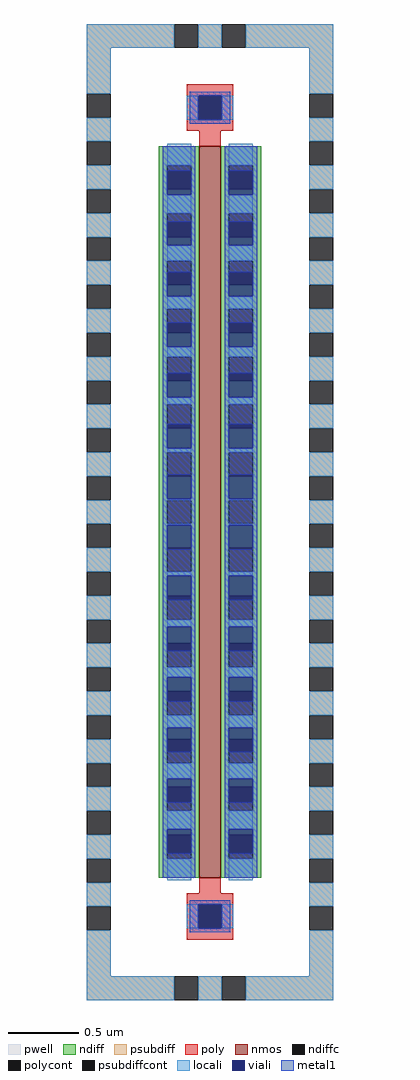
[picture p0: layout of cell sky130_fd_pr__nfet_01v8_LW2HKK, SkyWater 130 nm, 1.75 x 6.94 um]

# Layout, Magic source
magic
tech sky130A
magscale 1 2
<< pwell >>
rect -175 660 175 694
rect -175 -660 -141 660
rect 141 -660 175 660
rect -175 -694 175 -660
<< nmos >>
rect -15 -520 15 520
<< ndiff >>
rect -73 493 -15 520
rect -73 459 -61 493
rect -27 459 -15 493
rect -73 425 -15 459
rect -73 391 -61 425
rect -27 391 -15 425
rect -73 357 -15 391
rect -73 323 -61 357
rect -27 323 -15 357
rect -73 289 -15 323
rect -73 255 -61 289
rect -27 255 -15 289
rect -73 221 -15 255
rect -73 187 -61 221
rect -27 187 -15 221
rect -73 153 -15 187
rect -73 119 -61 153
rect -27 119 -15 153
rect -73 85 -15 119
rect -73 51 -61 85
rect -27 51 -15 85
rect -73 17 -15 51
rect -73 -17 -61 17
rect -27 -17 -15 17
rect -73 -51 -15 -17
rect -73 -85 -61 -51
rect -27 -85 -15 -51
rect -73 -119 -15 -85
rect -73 -153 -61 -119
rect -27 -153 -15 -119
rect -73 -187 -15 -153
rect -73 -221 -61 -187
rect -27 -221 -15 -187
rect -73 -255 -15 -221
rect -73 -289 -61 -255
rect -27 -289 -15 -255
rect -73 -323 -15 -289
rect -73 -357 -61 -323
rect -27 -357 -15 -323
rect -73 -391 -15 -357
rect -73 -425 -61 -391
rect -27 -425 -15 -391
rect -73 -459 -15 -425
rect -73 -493 -61 -459
rect -27 -493 -15 -459
rect -73 -520 -15 -493
rect 15 493 73 520
rect 15 459 27 493
rect 61 459 73 493
rect 15 425 73 459
rect 15 391 27 425
rect 61 391 73 425
rect 15 357 73 391
rect 15 323 27 357
rect 61 323 73 357
rect 15 289 73 323
rect 15 255 27 289
rect 61 255 73 289
rect 15 221 73 255
rect 15 187 27 221
rect 61 187 73 221
rect 15 153 73 187
rect 15 119 27 153
rect 61 119 73 153
rect 15 85 73 119
rect 15 51 27 85
rect 61 51 73 85
rect 15 17 73 51
rect 15 -17 27 17
rect 61 -17 73 17
rect 15 -51 73 -17
rect 15 -85 27 -51
rect 61 -85 73 -51
rect 15 -119 73 -85
rect 15 -153 27 -119
rect 61 -153 73 -119
rect 15 -187 73 -153
rect 15 -221 27 -187
rect 61 -221 73 -187
rect 15 -255 73 -221
rect 15 -289 27 -255
rect 61 -289 73 -255
rect 15 -323 73 -289
rect 15 -357 27 -323
rect 61 -357 73 -323
rect 15 -391 73 -357
rect 15 -425 27 -391
rect 61 -425 73 -391
rect 15 -459 73 -425
rect 15 -493 27 -459
rect 61 -493 73 -459
rect 15 -520 73 -493
<< ndiffc >>
rect -61 459 -27 493
rect -61 391 -27 425
rect -61 323 -27 357
rect -61 255 -27 289
rect -61 187 -27 221
rect -61 119 -27 153
rect -61 51 -27 85
rect -61 -17 -27 17
rect -61 -85 -27 -51
rect -61 -153 -27 -119
rect -61 -221 -27 -187
rect -61 -289 -27 -255
rect -61 -357 -27 -323
rect -61 -425 -27 -391
rect -61 -493 -27 -459
rect 27 459 61 493
rect 27 391 61 425
rect 27 323 61 357
rect 27 255 61 289
rect 27 187 61 221
rect 27 119 61 153
rect 27 51 61 85
rect 27 -17 61 17
rect 27 -85 61 -51
rect 27 -153 61 -119
rect 27 -221 61 -187
rect 27 -289 61 -255
rect 27 -357 61 -323
rect 27 -425 61 -391
rect 27 -493 61 -459
<< psubdiff >>
rect -175 660 -51 694
rect -17 660 17 694
rect 51 660 175 694
rect -175 595 -141 660
rect -175 527 -141 561
rect 141 595 175 660
rect 141 527 175 561
rect -175 459 -141 493
rect -175 391 -141 425
rect -175 323 -141 357
rect -175 255 -141 289
rect -175 187 -141 221
rect -175 119 -141 153
rect -175 51 -141 85
rect -175 -17 -141 17
rect -175 -85 -141 -51
rect -175 -153 -141 -119
rect -175 -221 -141 -187
rect -175 -289 -141 -255
rect -175 -357 -141 -323
rect -175 -425 -141 -391
rect -175 -493 -141 -459
rect 141 459 175 493
rect 141 391 175 425
rect 141 323 175 357
rect 141 255 175 289
rect 141 187 175 221
rect 141 119 175 153
rect 141 51 175 85
rect 141 -17 175 17
rect 141 -85 175 -51
rect 141 -153 175 -119
rect 141 -221 175 -187
rect 141 -289 175 -255
rect 141 -357 175 -323
rect 141 -425 175 -391
rect 141 -493 175 -459
rect -175 -561 -141 -527
rect -175 -660 -141 -595
rect 141 -561 175 -527
rect 141 -660 175 -595
rect -175 -694 -51 -660
rect -17 -694 17 -660
rect 51 -694 175 -660
<< psubdiffcont >>
rect -51 660 -17 694
rect 17 660 51 694
rect -175 561 -141 595
rect 141 561 175 595
rect -175 493 -141 527
rect -175 425 -141 459
rect -175 357 -141 391
rect -175 289 -141 323
rect -175 221 -141 255
rect -175 153 -141 187
rect -175 85 -141 119
rect -175 17 -141 51
rect -175 -51 -141 -17
rect -175 -119 -141 -85
rect -175 -187 -141 -153
rect -175 -255 -141 -221
rect -175 -323 -141 -289
rect -175 -391 -141 -357
rect -175 -459 -141 -425
rect -175 -527 -141 -493
rect 141 493 175 527
rect 141 425 175 459
rect 141 357 175 391
rect 141 289 175 323
rect 141 221 175 255
rect 141 153 175 187
rect 141 85 175 119
rect 141 17 175 51
rect 141 -51 175 -17
rect 141 -119 175 -85
rect 141 -187 175 -153
rect 141 -255 175 -221
rect 141 -323 175 -289
rect 141 -391 175 -357
rect 141 -459 175 -425
rect 141 -527 175 -493
rect -175 -595 -141 -561
rect 141 -595 175 -561
rect -51 -694 -17 -660
rect 17 -694 51 -660
<< poly >>
rect -33 592 33 608
rect -33 558 -17 592
rect 17 558 33 592
rect -33 542 33 558
rect -15 520 15 542
rect -15 -542 15 -520
rect -33 -558 33 -542
rect -33 -592 -17 -558
rect 17 -592 33 -558
rect -33 -608 33 -592
<< polycont >>
rect -17 558 17 592
rect -17 -592 17 -558
<< locali >>
rect -175 660 -51 694
rect -17 660 17 694
rect 51 660 175 694
rect -175 595 -141 660
rect 141 595 175 660
rect -175 527 -141 561
rect -33 558 -17 592
rect 17 558 33 592
rect 141 527 175 561
rect -175 459 -141 493
rect -175 391 -141 425
rect -175 323 -141 357
rect -175 255 -141 289
rect -175 187 -141 221
rect -175 119 -141 153
rect -175 51 -141 85
rect -175 -17 -141 17
rect -175 -85 -141 -51
rect -175 -153 -141 -119
rect -175 -221 -141 -187
rect -175 -289 -141 -255
rect -175 -357 -141 -323
rect -175 -425 -141 -391
rect -175 -493 -141 -459
rect -61 493 -27 524
rect -61 425 -27 451
rect -61 357 -27 379
rect -61 289 -27 307
rect -61 221 -27 235
rect -61 153 -27 163
rect -61 85 -27 91
rect -61 17 -27 19
rect -61 -19 -27 -17
rect -61 -91 -27 -85
rect -61 -163 -27 -153
rect -61 -235 -27 -221
rect -61 -307 -27 -289
rect -61 -379 -27 -357
rect -61 -451 -27 -425
rect -61 -524 -27 -493
rect 27 493 61 524
rect 27 425 61 451
rect 27 357 61 379
rect 27 289 61 307
rect 27 221 61 235
rect 27 153 61 163
rect 27 85 61 91
rect 27 17 61 19
rect 27 -19 61 -17
rect 27 -91 61 -85
rect 27 -163 61 -153
rect 27 -235 61 -221
rect 27 -307 61 -289
rect 27 -379 61 -357
rect 27 -451 61 -425
rect 27 -524 61 -493
rect 141 459 175 493
rect 141 391 175 425
rect 141 323 175 357
rect 141 255 175 289
rect 141 187 175 221
rect 141 119 175 153
rect 141 51 175 85
rect 141 -17 175 17
rect 141 -85 175 -51
rect 141 -153 175 -119
rect 141 -221 175 -187
rect 141 -289 175 -255
rect 141 -357 175 -323
rect 141 -425 175 -391
rect 141 -493 175 -459
rect -175 -561 -141 -527
rect -33 -592 -17 -558
rect 17 -592 33 -558
rect 141 -561 175 -527
rect -175 -660 -141 -595
rect 141 -660 175 -595
rect -175 -694 -51 -660
rect -17 -694 17 -660
rect 51 -694 175 -660
<< viali >>
rect -17 558 17 592
rect -61 459 -27 485
rect -61 451 -27 459
rect -61 391 -27 413
rect -61 379 -27 391
rect -61 323 -27 341
rect -61 307 -27 323
rect -61 255 -27 269
rect -61 235 -27 255
rect -61 187 -27 197
rect -61 163 -27 187
rect -61 119 -27 125
rect -61 91 -27 119
rect -61 51 -27 53
rect -61 19 -27 51
rect -61 -51 -27 -19
rect -61 -53 -27 -51
rect -61 -119 -27 -91
rect -61 -125 -27 -119
rect -61 -187 -27 -163
rect -61 -197 -27 -187
rect -61 -255 -27 -235
rect -61 -269 -27 -255
rect -61 -323 -27 -307
rect -61 -341 -27 -323
rect -61 -391 -27 -379
rect -61 -413 -27 -391
rect -61 -459 -27 -451
rect -61 -485 -27 -459
rect 27 459 61 485
rect 27 451 61 459
rect 27 391 61 413
rect 27 379 61 391
rect 27 323 61 341
rect 27 307 61 323
rect 27 255 61 269
rect 27 235 61 255
rect 27 187 61 197
rect 27 163 61 187
rect 27 119 61 125
rect 27 91 61 119
rect 27 51 61 53
rect 27 19 61 51
rect 27 -51 61 -19
rect 27 -53 61 -51
rect 27 -119 61 -91
rect 27 -125 61 -119
rect 27 -187 61 -163
rect 27 -197 61 -187
rect 27 -255 61 -235
rect 27 -269 61 -255
rect 27 -323 61 -307
rect 27 -341 61 -323
rect 27 -391 61 -379
rect 27 -413 61 -391
rect 27 -459 61 -451
rect 27 -485 61 -459
rect -17 -592 17 -558
<< metal1 >>
rect -29 592 29 598
rect -29 558 -17 592
rect 17 558 29 592
rect -29 552 29 558
rect -67 485 -21 520
rect -67 451 -61 485
rect -27 451 -21 485
rect -67 413 -21 451
rect -67 379 -61 413
rect -27 379 -21 413
rect -67 341 -21 379
rect -67 307 -61 341
rect -27 307 -21 341
rect -67 269 -21 307
rect -67 235 -61 269
rect -27 235 -21 269
rect -67 197 -21 235
rect -67 163 -61 197
rect -27 163 -21 197
rect -67 125 -21 163
rect -67 91 -61 125
rect -27 91 -21 125
rect -67 53 -21 91
rect -67 19 -61 53
rect -27 19 -21 53
rect -67 -19 -21 19
rect -67 -53 -61 -19
rect -27 -53 -21 -19
rect -67 -91 -21 -53
rect -67 -125 -61 -91
rect -27 -125 -21 -91
rect -67 -163 -21 -125
rect -67 -197 -61 -163
rect -27 -197 -21 -163
rect -67 -235 -21 -197
rect -67 -269 -61 -235
rect -27 -269 -21 -235
rect -67 -307 -21 -269
rect -67 -341 -61 -307
rect -27 -341 -21 -307
rect -67 -379 -21 -341
rect -67 -413 -61 -379
rect -27 -413 -21 -379
rect -67 -451 -21 -413
rect -67 -485 -61 -451
rect -27 -485 -21 -451
rect -67 -520 -21 -485
rect 21 485 67 520
rect 21 451 27 485
rect 61 451 67 485
rect 21 413 67 451
rect 21 379 27 413
rect 61 379 67 413
rect 21 341 67 379
rect 21 307 27 341
rect 61 307 67 341
rect 21 269 67 307
rect 21 235 27 269
rect 61 235 67 269
rect 21 197 67 235
rect 21 163 27 197
rect 61 163 67 197
rect 21 125 67 163
rect 21 91 27 125
rect 61 91 67 125
rect 21 53 67 91
rect 21 19 27 53
rect 61 19 67 53
rect 21 -19 67 19
rect 21 -53 27 -19
rect 61 -53 67 -19
rect 21 -91 67 -53
rect 21 -125 27 -91
rect 61 -125 67 -91
rect 21 -163 67 -125
rect 21 -197 27 -163
rect 61 -197 67 -163
rect 21 -235 67 -197
rect 21 -269 27 -235
rect 61 -269 67 -235
rect 21 -307 67 -269
rect 21 -341 27 -307
rect 61 -341 67 -307
rect 21 -379 67 -341
rect 21 -413 27 -379
rect 61 -413 67 -379
rect 21 -451 67 -413
rect 21 -485 27 -451
rect 61 -485 67 -451
rect 21 -520 67 -485
rect -29 -558 29 -552
rect -29 -592 -17 -558
rect 17 -592 29 -558
rect -29 -598 29 -592
<< properties >>
string FIXED_BBOX -158 -677 158 677
<< end >>
